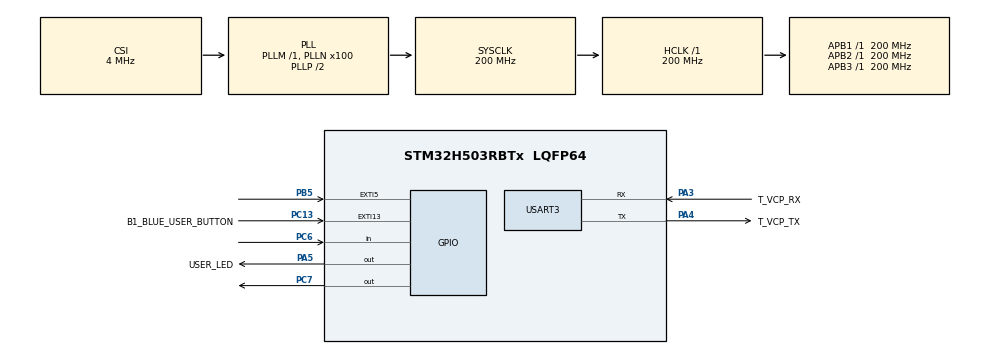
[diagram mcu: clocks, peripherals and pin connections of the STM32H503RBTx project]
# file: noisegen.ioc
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BOOTPATH.BootPathName=LEGACY
BOOTPATH.UserSelectedBootPath=LEGACY
Mcu.Family=STM32H5
Mcu.Name=STM32H503RBTx
Mcu.Package=LQFP64
NVIC.EXTI13_IRQn=true\:0\:0\:false\:false\:true\:true\:true\:true
NVIC.EXTI5_IRQn=true\:0\:0\:false\:false\:true\:true\:true\:true
NVIC.PriorityGroup=NVIC_PRIORITYGROUP_4
NVIC.USART3_IRQn=true\:0\:0\:false\:false\:true\:true\:true\:true
PA3.GPIO_Label=T_VCP_RX
PA3.Mode=Asynchronous
PA3.Signal=USART3_RX
PA4.GPIO_Label=T_VCP_TX
PA4.Mode=Asynchronous
PA4.Signal=USART3_TX
PA5.GPIO_Label=USER_LED
PA5.Signal=GPIO_Output
PB5.GPIO_ModeDefaultEXTI=GPIO_MODE_IT_FALLING
PB5.GPIO_PuPd=GPIO_PULLUP
PB5.Signal=GPXTI5
PC13.GPIO_Label=B1_BLUE_USER_BUTTON
PC13.GPIO_ModeDefaultEXTI=GPIO_MODE_IT_FALLING
PC13.Signal=GPXTI13
PC6.Signal=GPIO_Input
PC7.Signal=GPIO_Output
PH0-OSC_IN(PH0).Mode=HSE-External-Oscillator
PH0-OSC_IN(PH0).Signal=RCC_OSC_IN
PH1-OSC_OUT(PH1).Mode=HSE-External-Oscillator
PH1-OSC_OUT(PH1).Signal=RCC_OSC_OUT
ProjectManager.HeapSize=0x200
ProjectManager.StackSize=0x400
ProjectManager.TargetToolchain=STM32CubeIDE
RCC.ADCFreq_Value=200000000
RCC.AHBFreq_Value=200000000
RCC.APB1Freq_Value=200000000
RCC.APB1TimFreq_Value=200000000
RCC.APB2Freq_Value=200000000
RCC.APB2TimFreq_Value=200000000
RCC.APB3Freq_Value=200000000
RCC.CSI_VALUE=4000000
RCC.CortexFreq_Value=200000000
RCC.EPOD_VALUE=4000000
RCC.FDCANClockSelection=RCC_FDCANCLKSOURCE_PLL1Q
RCC.HCLKFreq_Value=200000000
RCC.HSE_VALUE=24000000
RCC.HSI48_VALUE=48000000
RCC.HSIDiv=RCC_HSI_DIV1
RCC.HSI_VALUE=64000000
RCC.LSE_VALUE=32768
RCC.LSIRC_VALUE=32000
RCC.PLLFRACN=0
RCC.PLLN=100
RCC.SYSCLKFreq_VALUE=200000000
RCC.SYSCLKSource=RCC_SYSCLKSOURCE_PLLCLK
RCC.USBFreq_Value=48000000
RCC.VCOOutputFreq_Value=400000000
USART3.VirtualMode-Asynchronous=VM_ASYNC
VP_BOOTPATH_VS_BOOTPATH.Mode=BP_Activate
VP_CORTEX_M33_NS_VS_Hclk.Mode=Hclk_Mode
VP_MEMORYMAP_VS_MEMORYMAP.Mode=CurAppReg
VP_PWR_VS_DBSignals.Mode=DisableDeadBatterySignals
VP_PWR_VS_LPOM.Mode=PowerOptimisation
VP_PWR_VS_SECSignals.Mode=Security/Privilege
board=NUCLEO-H503RB

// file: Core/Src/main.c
/* USER CODE BEGIN Header */
/**
  ******************************************************************************
  * @file           : main.c
  * @brief          : Main program body
  ******************************************************************************
  * @attention
  *
  * Copyright (c) 2025 STMicroelectronics.
  * All rights reserved.
  *
  * This software is licensed under terms that can be found in the LICENSE file
  * in the root directory of this software component.
  * If no LICENSE file comes with this software, it is provided AS-IS.
  *
  ******************************************************************************
  */
/* USER CODE END Header */
#include "main.h"

/* USER CODE BEGIN Includes */
#include <stdio.h>
/* USER CODE END Includes */

UART_HandleTypeDef huart3;

void SystemClock_Config(void);
static void MX_GPIO_Init(void);
static void MX_USART3_UART_Init(void);
/* USER CODE BEGIN PFP */
void Print_CAN_Error(void);
/* USER CODE END PFP */

/* USER CODE BEGIN 0 */

volatile uint8_t flag = 0;

extern uint16_t count;

/* USER CODE END 0 */

int main(void)
{

  /* MCU Configuration--------------------------------------------------------*/

  /* Reset of all peripherals, Initializes the Flash interface and the Systick. */
  HAL_Init();

  /* Configure the system clock */
  SystemClock_Config();

  /* Initialize all configured peripherals */
  MX_GPIO_Init();
  MX_USART3_UART_Init();
  /* USER CODE BEGIN 2 */
  Timer2_init();
  Timer3_init();
  GPIOC->ODR |= (1<<7);
  /* USER CODE END 2 */

  /* Infinite loop */
  while (1)
  {

  }
}

void SystemClock_Config(void)
{
  RCC_OscInitTypeDef RCC_OscInitStruct = {0};
  RCC_ClkInitTypeDef RCC_ClkInitStruct = {0};

  /** Configure the main internal regulator output voltage
  */
  __HAL_PWR_VOLTAGESCALING_CONFIG(PWR_REGULATOR_VOLTAGE_SCALE1);

  while(!__HAL_PWR_GET_FLAG(PWR_FLAG_VOSRDY)) {}

  /** Initializes the RCC Oscillators according to the specified parameters
  * in the RCC_OscInitTypeDef structure.
  */
  RCC_OscInitStruct.OscillatorType = RCC_OSCILLATORTYPE_CSI;
  RCC_OscInitStruct.CSIState = RCC_CSI_ON;
  RCC_OscInitStruct.CSICalibrationValue = RCC_CSICALIBRATION_DEFAULT;
  RCC_OscInitStruct.PLL.PLLState = RCC_PLL_ON;
  RCC_OscInitStruct.PLL.PLLSource = RCC_PLL1_SOURCE_CSI;
  RCC_OscInitStruct.PLL.PLLM = 1;
  RCC_OscInitStruct.PLL.PLLN = 100;
  RCC_OscInitStruct.PLL.PLLP = 2;
  RCC_OscInitStruct.PLL.PLLQ = 2;
  RCC_OscInitStruct.PLL.PLLR = 2;
  RCC_OscInitStruct.PLL.PLLRGE = RCC_PLL1_VCIRANGE_2;
  RCC_OscInitStruct.PLL.PLLVCOSEL = RCC_PLL1_VCORANGE_WIDE;
  RCC_OscInitStruct.PLL.PLLFRACN = 0;
  if (HAL_RCC_OscConfig(&RCC_OscInitStruct) != HAL_OK)
  {
    Error_Handler();
  }

  /** Initializes the CPU, AHB and APB buses clocks
  */
  RCC_ClkInitStruct.ClockType = RCC_CLOCKTYPE_HCLK|RCC_CLOCKTYPE_SYSCLK
                              |RCC_CLOCKTYPE_PCLK1|RCC_CLOCKTYPE_PCLK2
                              |RCC_CLOCKTYPE_PCLK3;
  RCC_ClkInitStruct.SYSCLKSource = RCC_SYSCLKSOURCE_PLLCLK;
  RCC_ClkInitStruct.AHBCLKDivider = RCC_SYSCLK_DIV1;
  RCC_ClkInitStruct.APB1CLKDivider = RCC_HCLK_DIV1;
  RCC_ClkInitStruct.APB2CLKDivider = RCC_HCLK_DIV1;
  RCC_ClkInitStruct.APB3CLKDivider = RCC_HCLK_DIV1;

  if (HAL_RCC_ClockConfig(&RCC_ClkInitStruct, FLASH_LATENCY_5) != HAL_OK)
  {
    Error_Handler();
  }

  /** Configure the programming delay
  */
  __HAL_FLASH_SET_PROGRAM_DELAY(FLASH_PROGRAMMING_DELAY_2);
}

static void MX_USART3_UART_Init(void)
{

  huart3.Instance = USART3;
  huart3.Init.BaudRate = 115200;
  huart3.Init.WordLength = UART_WORDLENGTH_8B;
  huart3.Init.StopBits = UART_STOPBITS_1;
  huart3.Init.Parity = UART_PARITY_NONE;
  huart3.Init.Mode = UART_MODE_TX_RX;
  huart3.Init.HwFlowCtl = UART_HWCONTROL_NONE;
  huart3.Init.OverSampling = UART_OVERSAMPLING_16;
  huart3.Init.OneBitSampling = UART_ONE_BIT_SAMPLE_DISABLE;
  huart3.Init.ClockPrescaler = UART_PRESCALER_DIV1;
  huart3.AdvancedInit.AdvFeatureInit = UART_ADVFEATURE_NO_INIT;
  if (HAL_UART_Init(&huart3) != HAL_OK)
  {
    Error_Handler();
  }
  if (HAL_UARTEx_SetTxFifoThreshold(&huart3, UART_TXFIFO_THRESHOLD_1_8) != HAL_OK)
  {
    Error_Handler();
  }
  if (HAL_UARTEx_SetRxFifoThreshold(&huart3, UART_RXFIFO_THRESHOLD_1_8) != HAL_OK)
  {
    Error_Handler();
  }
  if (HAL_UARTEx_DisableFifoMode(&huart3) != HAL_OK)
  {
    Error_Handler();
  }

}

static void MX_GPIO_Init(void)
{
  GPIO_InitTypeDef GPIO_InitStruct = {0};

  /* GPIO Ports Clock Enable */
  __HAL_RCC_GPIOC_CLK_ENABLE();
  __HAL_RCC_GPIOH_CLK_ENABLE();
  __HAL_RCC_GPIOA_CLK_ENABLE();
  __HAL_RCC_GPIOB_CLK_ENABLE();

  /*Configure GPIO pin Output Level */
  HAL_GPIO_WritePin(USER_LED_GPIO_Port, USER_LED_Pin, GPIO_PIN_RESET);

  /*Configure GPIO pin Output Level */
  HAL_GPIO_WritePin(GPIOC, GPIO_PIN_7, GPIO_PIN_RESET);

  /*Configure GPIO pin : B1_BLUE_USER_BUTTON_Pin */
  GPIO_InitStruct.Pin = B1_BLUE_USER_BUTTON_Pin;
  GPIO_InitStruct.Mode = GPIO_MODE_IT_FALLING;
  GPIO_InitStruct.Pull = GPIO_NOPULL;
  HAL_GPIO_Init(B1_BLUE_USER_BUTTON_GPIO_Port, &GPIO_InitStruct);

  /*Configure GPIO pin : USER_LED_Pin */
  GPIO_InitStruct.Pin = USER_LED_Pin;
  GPIO_InitStruct.Mode = GPIO_MODE_OUTPUT_PP;
  GPIO_InitStruct.Pull = GPIO_NOPULL;
  GPIO_InitStruct.Speed = GPIO_SPEED_FREQ_LOW;
  HAL_GPIO_Init(USER_LED_GPIO_Port, &GPIO_InitStruct);

  /*Configure GPIO pin : PC6 */
  GPIO_InitStruct.Pin = GPIO_PIN_6;
  GPIO_InitStruct.Mode = GPIO_MODE_INPUT;
  GPIO_InitStruct.Pull = GPIO_NOPULL;
  HAL_GPIO_Init(GPIOC, &GPIO_InitStruct);

  /*Configure GPIO pin : PC7 */
  GPIO_InitStruct.Pin = GPIO_PIN_7;
  GPIO_InitStruct.Mode = GPIO_MODE_OUTPUT_PP;
  GPIO_InitStruct.Pull = GPIO_NOPULL;
  GPIO_InitStruct.Speed = GPIO_SPEED_FREQ_LOW;
  HAL_GPIO_Init(GPIOC, &GPIO_InitStruct);

  /*Configure GPIO pin : PB5 */
  GPIO_InitStruct.Pin = GPIO_PIN_5;
  GPIO_InitStruct.Mode = GPIO_MODE_IT_FALLING;
  GPIO_InitStruct.Pull = GPIO_PULLUP;
  HAL_GPIO_Init(GPIOB, &GPIO_InitStruct);

  /* EXTI interrupt init*/
  HAL_NVIC_SetPriority(EXTI5_IRQn, 0, 0);
  HAL_NVIC_EnableIRQ(EXTI5_IRQn);

  HAL_NVIC_SetPriority(EXTI13_IRQn, 0, 0);
  HAL_NVIC_EnableIRQ(EXTI13_IRQn);

}

/* USER CODE BEGIN 4 */
void HAL_GPIO_EXTI_Falling_Callback(uint16_t GPIO_Pin){

	if(GPIO_Pin == GPIO_PIN_5) {
		if(flag == 0){
			TIM2->CNT = 0;
			TIM2->CR1 |= TIM_CR1_CEN;
			GPIOA->ODR &= ~(1<<5);
		}
		}

	if(GPIO_Pin == B1_BLUE_USER_BUTTON_Pin){
		flag ^= 1;
		GPIOA->ODR |= (1<<5);
	}
}
int __io_putchar(int ch)
{
    HAL_UART_Transmit(&huart3, (uint8_t*)&ch, 1,1000);
    return ch;
}

/* USER CODE END 4 */

void Error_Handler(void)
{
  __disable_irq();
  while (1)
  {
  }
}
